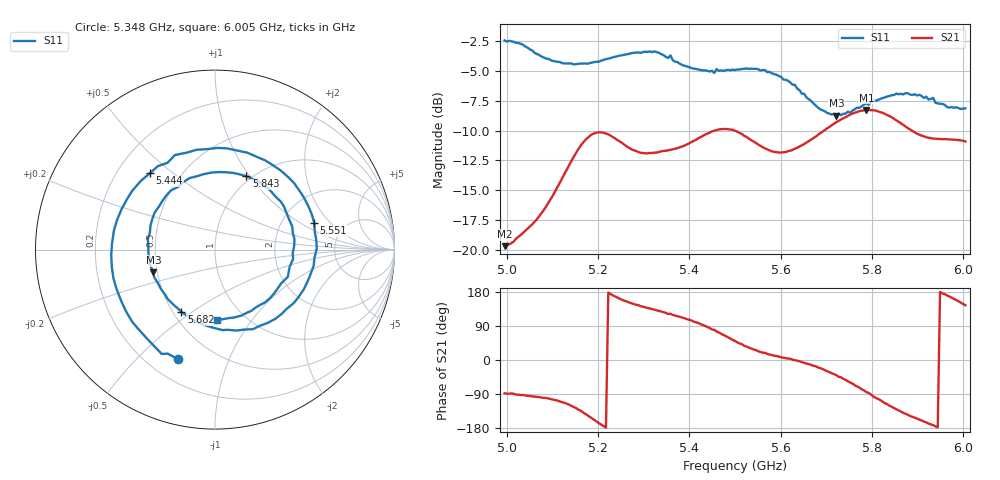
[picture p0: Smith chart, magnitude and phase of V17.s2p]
!File created by NanoVNA
# Hz S RI R 50
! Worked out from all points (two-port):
!   201 points, 4.995 GHz to 6.005 GHz, reference 50 ohm
!   highest |S21| = -8.27 dB at 5.788 GHz (marker M1); lowest = -19.7 dB at 4.995 GHz (marker M2)
!   |S21| within 3 dB of the highest: 5.389 GHz to 5.555 GHz (166.3 MHz wide, 3.04 % of centre); 5.645 GHz to end of sweep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
!   lowest |S11| = -8.7 dB at 5.722 GHz (marker M3), VSWR 2.15, Z = 23.8 - j6.99 ohm
!   |S11| at or under -10 dB: nowhere
!   S12 and S22 are empty: the file has one direction only
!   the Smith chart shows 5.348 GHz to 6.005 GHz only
!   S11 on the Smith chart (normalised r, x): 5.348 GHz: 0.32, -0.67; 5.444 GHz: 0.34, +0.42; 5.551 GHz: 3.03, +1.33; 5.682 GHz: 0.55, -0.45; 5.843 GHz: 0.95, +0.96; 6.005 GHz: 0.75, -0.69
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4.995e9  0.2128 -0.7237  0.00372 -0.1036  0 0  0 0
5.03035e9  -0.3082 -0.662  -0.0049 -0.1155  0 0  0 0
5.0758e9  -0.6409 -0.0826  -0.0223 -0.1408  0 0  0 0
5.1263e9  -0.3477 0.4946  -0.0817 -0.1918  0 0  0 0
5.1667e9  0.1168 0.592  -0.2103 -0.1866  0 0  0 0
5.2172e9  0.5546 0.2985  -0.3071 -0.008  0 0  0 0
5.2576e9  0.6477 -0.114  -0.2529 0.1102  0 0  0 0
5.33335e9  0.0123 -0.6693  -0.1632 0.1988  0 0  0 0
5.3485e9  -0.2074 -0.6093  -0.1459 0.2155  0 0  0 0
5.399e9  -0.5747 -0.0987  -0.0787 0.2678  0 0  0 0
5.44445e9  -0.3633 0.4248  0.0288 0.3087  0 0  0 0
5.5e9  0.2258 0.5198  0.2012 0.243  0 0  0 0
5.5505e9  0.5529 0.1479  0.2543 0.1092  0 0  0 0
5.6212e9  0.293 -0.4086  0.26 0.0145  0 0  0 0
5.6717e9  -0.1204 -0.3931  0.2837 -0.0776  0 0  0 0
5.6818e9  -0.187 -0.3476  0.2858 -0.102  0 0  0 0
5.7222e9  -0.3427 -0.1272  0.2631 -0.2202  0 0  0 0
5.78785e9  -0.2451 0.3299  0.0357 -0.3843  0 0  0 0
5.83835e9  0.1347 0.42  -0.1842 -0.3137  0 0  0 0
5.8434e9  0.1752 0.4086  -0.199 -0.2999  0 0  0 0
5.91915e9  0.4354 -0.0529  -0.2858 -0.0791  0 0  0 0
6.005e9  0.0111 -0.3917  -0.2314 0.1658  0 0  0 0
